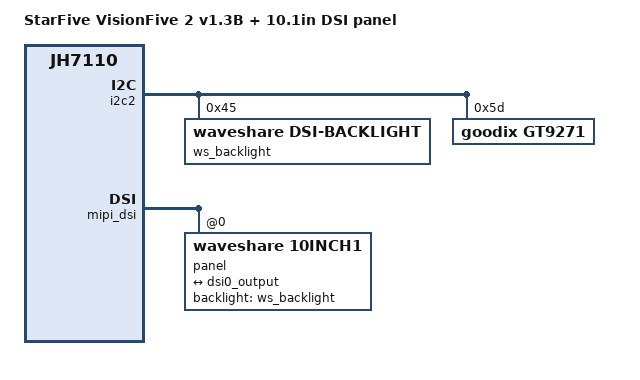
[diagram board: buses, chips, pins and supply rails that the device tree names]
// SPDX-License-Identifier: GPL-2.0 OR MIT
/*
 * VisionFive 2 v1.3B + Luckfox 10.1-DSI-TOUCH-A (ILI9881C 800x1280, 2-lane);
 * a separate DTB so the stock HDMI-only one stays available.
 */

/dts-v1/;

#include "jh7110-starfive-visionfive-2-v1.3b.dts"

/ {
	model = "StarFive VisionFive 2 v1.3B + 10.1in DSI panel";
};
/* No power-supply: REGULATOR_FIXED_VOLTAGE is off, so a fixed regulator would
 * defer the panel forever; without one it gets a dummy. */

/* The DSI host binds one device only. Disabled, not deleted: dsi1_output still
 * references its endpoint. */
&panel_radxa {
	status = "disabled";
};

&i2c2 {
	/* The stock guesses are wrong for this panel. seeed is deleted to free 0x45;
	 * &dsi0_output is repointed below, so its endpoint may go. */
	/delete-node/ seeed_plane_i2c@45;
	/delete-node/ touchscreen@14;
	/delete-node/ tinker_ft5406@38;

	ws_backlight: backlight@45 {
		compatible = "waveshare,dsi-backlight";
		reg = <0x45>;
		default-brightness-level = <200>;
		max-brightness-level = <255>;
		min-brightness-level = <0>;
	};

	/* No INT line is routed to the host: polled via 0007-goodix-touch-poll-mode. */
	gt9271: touchscreen@5d {
		compatible = "goodix,gt9271";
		reg = <0x5d>;
	};
};

&mipi_dsi {
	#address-cells = <1>;
	#size-cells = <0>;

	panel@0 {
		compatible = "waveshare,10inch1";
		reg = <0>;
		dsi,lanes = <2>;
		/* 70 MHz * 24 bpp / 2 lanes; must also be an exact m31 PLL table
		 * entry (7110-m31-dphy.h, 10 MHz steps). */
		dsi,hs-rate = <840000000>;
		backlight = <&ws_backlight>;
		rotation = <270>;

		port {
			ili_panel_in: endpoint {
				remote-endpoint = <&dsi0_output>;
			};
		};
	};
};

&dsi0_output {
	remote-endpoint = <&ili_panel_in>;
};
